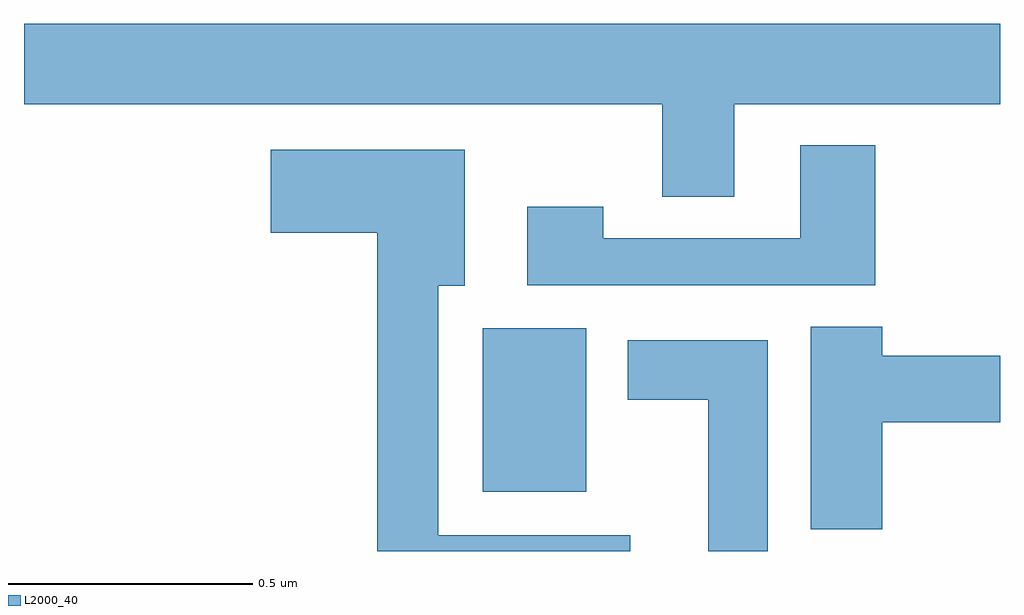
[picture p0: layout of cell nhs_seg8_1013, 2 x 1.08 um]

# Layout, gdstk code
import gdstk
lib = gdstk.Library(unit=1e-6, precision=1e-09)
def R(c, l, rs):  # rectangles x0, y0, x1, y1
    for r in rs: c.add(gdstk.rectangle(r[:2], r[2:], *l))
def P(c, l, *ps):  # polygons
    for p in ps: c.add(gdstk.Polygon(p, *l))
L2000_40 = (2000, 40)

nhs_seg8_1013 = lib.new_cell('nhs_seg8_1013')
R(nhs_seg8_1013, L2000_40, [(124.94,1133.021,125.152,1133.356)])
P(nhs_seg8_1013, L2000_40, [(125.455,1133.816),(126,1133.816),(126,1133.98),(124,1133.98),(124,1133.816),(125.308,1133.816),(125.308,1133.626),(125.455,1133.626)],
  [(125.744,1133.731),(125.591,1133.731),(125.591,1133.541),(125.187,1133.541),(125.187,1133.605),(125.031,1133.605),(125.031,1133.445),(125.744,1133.445)],
  [(125.242,1132.932),(124.849,1132.932),(124.849,1133.444),(124.903,1133.444),(124.903,1133.722),(124.506,1133.722),(124.506,1133.552),(124.724,1133.552),(124.724,1132.9),(125.242,1132.9)],
  [(125.759,1133.164),(126,1133.164),(126,1133.3),(125.759,1133.3),(125.759,1133.36),(125.612,1133.36),(125.612,1132.945),(125.759,1132.945)],
  [(125.524,1133.332),(125.237,1133.332),(125.237,1133.21),(125.402,1133.21),(125.402,1132.9),(125.524,1132.9)])

lib.write_gds('nhs_seg8_1013.gds')
